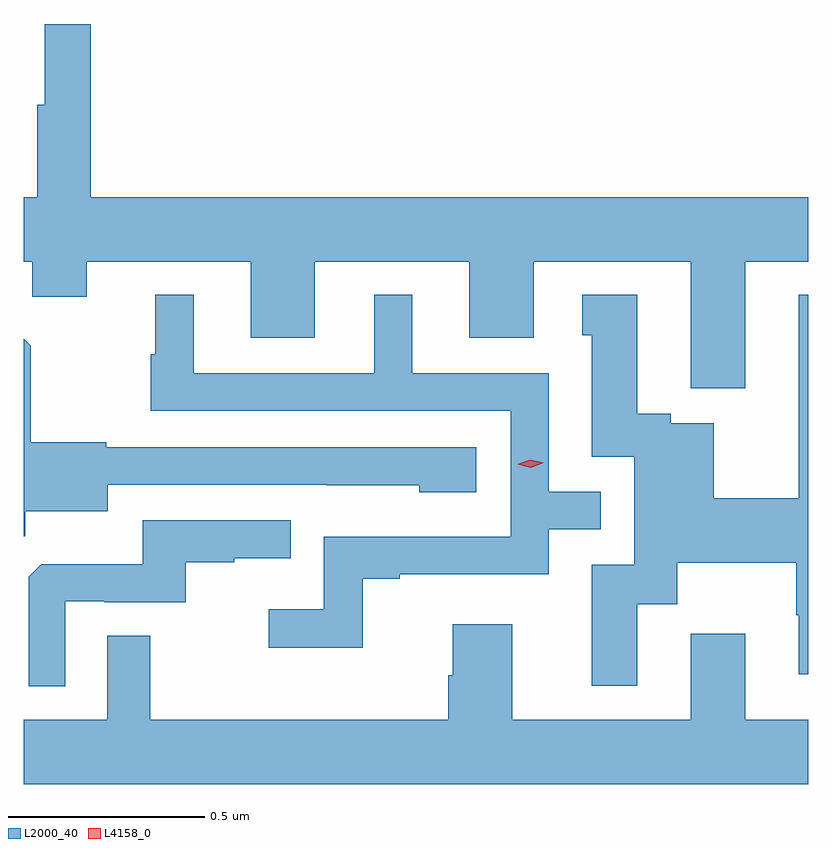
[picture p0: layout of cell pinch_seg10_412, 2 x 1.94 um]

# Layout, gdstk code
import gdstk
lib = gdstk.Library(unit=1e-6, precision=1e-09)
def P(c, l, *ps):  # polygons
    for p in ps: c.add(gdstk.Polygon(p, *l))
L2000_40 = (2000, 40)
L4158_0 = (4158, 0)

pinch_seg10_412 = lib.new_cell('pinch_seg10_412')
P(pinch_seg10_412, L2000_40, [(627.787,1263.02),(627.947,1263.02),(627.947,1263.184),(626.117,1263.184),(626.117,1263.626),(626,1263.626),(626,1263.42),(625.981,1263.42),(625.981,1263.184),(625.947,1263.184),(625.947,1263.02),(625.969,1263.02),(625.969,1262.93),(626.107,1262.93),(626.107,1263.02),(626.525,1263.02),(626.525,1262.826),(626.689,1262.826),(626.689,1263.02),(627.083,1263.02),(627.083,1262.826),(627.247,1262.826),(627.247,1263.02),(627.647,1263.02),(627.647,1262.697),(627.787,1262.697)],
  [(626.811,1262.211),(626.905,1262.211),(626.905,1262.223),(627.285,1262.223),(627.285,1262.337),(627.418,1262.337),(627.418,1262.433),(627.285,1262.433),(627.285,1262.736),(626.938,1262.736),(626.938,1262.935),(626.84,1262.935),(626.84,1262.736),(626.38,1262.736),(626.38,1262.935),(626.282,1262.935),(626.282,1262.784),(626.271,1262.784),(626.271,1262.64),(627.189,1262.64),(627.189,1262.319),(626.712,1262.319),(626.712,1262.134),(626.571,1262.134),(626.571,1262.036),(626.811,1262.036)],
  [(627.511,1262.146),(627.613,1262.146),(627.613,1262.252),(627.916,1262.252),(627.916,1262.118),(627.923,1262.118),(627.923,1261.968),(627.947,1261.968),(627.947,1262.935),(627.923,1262.935),(627.923,1262.417),(627.706,1262.417),(627.706,1262.608),(627.597,1262.608),(627.597,1262.632),(627.511,1262.632),(627.511,1262.935),(627.371,1262.935),(627.371,1262.832),(627.395,1262.832),(627.395,1262.523),(627.504,1262.523),(627.504,1262.247),(627.395,1262.247),(627.395,1261.938),(627.511,1261.938)],
  [(625.95,1262.384),(626.161,1262.384),(626.161,1262.451),(626.719,1262.451),(626.719,1262.45),(626.955,1262.45),(626.955,1262.432),(627.1,1262.432),(627.1,1262.547),(626.157,1262.547),(626.157,1262.56),(625.965,1262.56),(625.965,1262.805),(625.947,1262.823),(625.947,1262.32),(625.95,1262.32)],
  [(626.052,1262.154),(626.152,1262.154),(626.152,1262.151),(626.36,1262.151),(626.36,1262.253),(626.483,1262.253),(626.483,1262.264),(626.627,1262.264),(626.627,1262.361),(626.25,1262.361),(626.25,1262.249),(625.991,1262.249),(625.959,1262.217),(625.959,1261.937),(626.052,1261.937)],
  [(627.947,1261.852),(627.787,1261.852),(627.787,1262.071),(627.647,1262.071),(627.647,1261.852),(627.193,1261.852),(627.193,1262.095),(627.041,1262.095),(627.041,1261.965),(627.029,1261.965),(627.029,1261.852),(626.269,1261.852),(626.269,1262.066),(626.16,1262.066),(626.16,1261.852),(625.947,1261.852),(625.947,1261.688),(627.947,1261.688)])
P(pinch_seg10_412, L4158_0, [(627.24,1262.495),(627.205,1262.503),(627.204,1262.503),(627.205,1262.503),(627.238,1262.515),(627.273,1262.507),(627.273,1262.507),(627.273,1262.507)])

lib.write_gds('pinch_seg10_412.gds')
